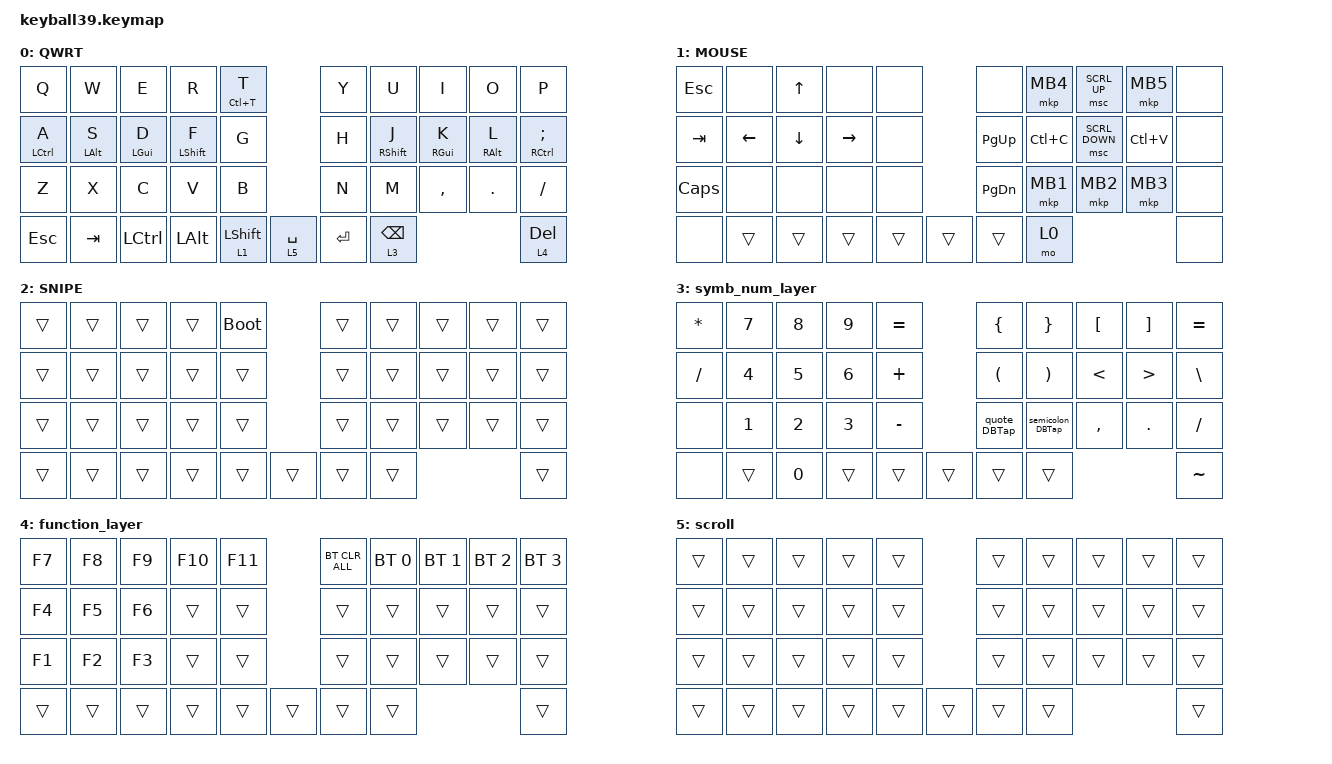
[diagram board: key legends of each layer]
#define DEFAULT 0
#define NUM     1
#define SYM     2
#define FUN     3
#define MOUSE   4
#define SCROLL  5
#define SNIPE   6

#include <behaviors/mouse_keys.dtsi>
#include <dt-bindings/zmk/mouse.h>
#include <behaviors.dtsi>
#include <dt-bindings/zmk/bt.h>
#include <dt-bindings/zmk/keys.h>
#include <dt-bindings/zmk/pointing.h>

&lt {
    tapping-term-ms = <240>;
    flavor = "balanced";
    quick-tap-ms = <150>;
};

&mt {
    tapping-term-ms = <200>;
    flavor = "tap-preferred";
    quick-tap-ms = <150>;
};

&caps_word { continue-list = <UNDERSCORE MINUS>; };

&msc {
};

/ {
    // custom shift using mod-morph 

    behaviors {
        cmqus: comma_question {
            compatible = "zmk,behavior-mod-morph";
            label = "COMMA_QUESTION";
            #binding-cells = <0>;
            bindings = <&kp COMMA>, <&kp QUESTION>;

            mods = <(MOD_LSFT|MOD_RSFT)>;
        };

        dtsmi: dot_semi {
            compatible = "zmk,behavior-mod-morph";
            label = "DOT_SEMI";
            #binding-cells = <0>;
            bindings = <&kp DOT>, <&kp SEMI>;

            mods = <(MOD_LSFT|MOD_RSFT)>;
        };

        HMShiftR: HMShiftR {
            compatible = "zmk,behavior-hold-tap";
            label = "HMSHIFTR";
            bindings = <&kp>, <&kp>;

            #binding-cells = <2>;
            tapping-term-ms = <300>;
            hold-while-undecided;
            hold-trigger-key-positions = <0 1 3 4 10 11 12 13 14 20 21 22 23 24 30 31 32 33 34 35 2>;
            hold-trigger-on-release;
        };

        HMShiftL: HMShiftL {
            compatible = "zmk,behavior-hold-tap";
            label = "HMSHIFTL";
            bindings = <&kp>, <&kp>;

            #binding-cells = <2>;
            tapping-term-ms = <300>;
            hold-while-undecided;
            hold-trigger-on-release;
            hold-trigger-key-positions = <5 6 7 8 9 15 16 17 18 19 25 26 27 28 29 36 37 38>;
        };

        HMR: HMR {
            compatible = "zmk,behavior-hold-tap";
            label = "HMR";
            bindings = <&kp>, <&kp>;

            #binding-cells = <2>;
            tapping-term-ms = <300>;
            hold-trigger-key-positions = <0 1 3 4 10 11 12 13 14 20 21 22 23 24 30 31 32 33 34 35 2>;
            hold-trigger-on-release;
            flavor = "tap-preferred";
        };

        HML: HML {
            compatible = "zmk,behavior-hold-tap";
            label = "HML";
            bindings = <&kp>, <&kp>;

            #binding-cells = <2>;
            tapping-term-ms = <300>;
            hold-trigger-on-release;
            hold-trigger-key-positions = <5 6 7 8 9 15 16 17 18 19 25 26 27 28 29 36 37 38>;
            flavor = "tap-preferred";
        };

        underscore_DBTap: underscore_DBTap {
            compatible = "zmk,behavior-tap-dance";
            label = "UNDERSCORE_DBTAP";
            #binding-cells = <0>;
            bindings = <&kp MINUS>, <&kp UNDERSCORE>;
        };

        quote_DBTap: quote_DBTap {
            compatible = "zmk,behavior-tap-dance";
            label = "QUOTE_DBTAP";
            #binding-cells = <0>;
            bindings = <&kp SQT>, <&kp DOUBLE_QUOTES>;
        };

        semicolon_DBTap: semicolon_DBTap {
            compatible = "zmk,behavior-tap-dance";
            label = "SEMICOLON_DBTAP";
            #binding-cells = <0>;
            bindings = <&kp SEMICOLON>, <&kp COLON>;
        };

        longPress: longPress {
            compatible = "zmk,behavior-hold-tap";
            label = "LONGPRESS";
            bindings = <&kp>, <&kp>;

            #binding-cells = <2>;
            tapping-term-ms = <350>;
            flavor = "tap-preferred";
        };
    };

    macros {
        Hiragana: Hiragana {
            compatible = "zmk,behavior-macro";
            #binding-cells = <0>;
            bindings = <&kp LC(SPACE)>;
            label = "HIRAGANA";
        };
    };

    keymap {
        compatible = "zmk,keymap";

        default_layer {
            label = "QWRT";
            bindings = <
&kp Q         &kp W            &kp E            &kp R                   &longPress LC(T) T                          &kp Y            &kp U                    &kp I             &kp O             &kp P
&HML LCTRL A  &HML LEFT_ALT S  &HML LEFT_GUI D  &HMShiftL LEFT_SHIFT F  &kp G                                       &kp H            &HMShiftR RIGHT_SHIFT J  &HMR RIGHT_GUI K  &HMR RIGHT_ALT L  &HMR RCTRL SEMICOLON
&kp Z         &kp X            &kp C            &kp V                   &kp B                                       &kp N            &kp M                    &kp COMMA         &kp DOT           &kp SLASH
&kp ESC       &kp TAB          &kp LCTRL        &kp LEFT_ALT            &lt 1 LSHIFT        &lt 5 SPACE  &kp ENTER  &lt 3 BACKSPACE                                                               &lt 4 DELETE
            >;
        };

        mouse_layer {
            label = "MOUSE";
            bindings = <
&kp ESCAPE    &none           &kp UP_ARROW  &none      &none                   &none          &mkp MB4   &msc SCRL_UP    &mkp MB5   &none
&kp TAB       &kp LEFT_ARROW  &kp DOWN      &kp RIGHT  &none                   &kp PAGE_UP    &kp LC(C)  &msc SCRL_DOWN  &kp LC(V)  &none
&kp CAPSLOCK  &none           &none         &none      &none                   &kp PAGE_DOWN  &mkp MB1   &mkp MB2        &mkp MB3   &none
&none         &trans          &trans        &trans     &trans  &trans  &trans  &mo 0                                                &none
            >;
        };

        snipe_layer {
            label = "SNIPE";
            bindings = <
&trans  &trans  &trans  &trans  &bootloader                  &trans  &trans  &trans  &trans  &trans
&trans  &trans  &trans  &trans  &trans                       &trans  &trans  &trans  &trans  &trans
&trans  &trans  &trans  &trans  &trans                       &trans  &trans  &trans  &trans  &trans
&trans  &trans  &trans  &trans  &trans       &trans  &trans  &trans                          &trans
            >;
        };

        symb_num_layer {
            bindings = <
&kp ASTERISK  &kp N7        &kp N8        &kp N9        &kp EQUAL                  &kp LEFT_BRACE        &kp RIGHT_BRACE        &kp LEFT_BRACKET  &kp RIGHT_BRACKET  &kp EQUAL
&kp SLASH     &kp NUMBER_4  &kp N5        &kp NUMBER_6  &kp PLUS                   &kp LEFT_PARENTHESIS  &kp RIGHT_PARENTHESIS  &kp LESS_THAN     &kp GREATER_THAN   &kp BACKSLASH
&none         &kp NUMBER_1  &kp NUMBER_2  &kp NUMBER_3  &kp MINUS                  &quote_DBTap          &semicolon_DBTap       &kp COMMA         &kp PERIOD         &kp SLASH
&none         &trans        &kp N0        &trans        &trans     &trans  &trans  &trans                                                                            &kp TILDE
            >;
        };

        function_layer {
            bindings = <
&kp F7  &kp F8  &kp F9  &kp F10  &kp F11                  &bt BT_CLR_ALL  &bt BT_SEL 0  &bt BT_SEL 1  &bt BT_SEL 2  &bt BT_SEL 3
&kp F4  &kp F5  &kp F6  &trans   &trans                   &trans          &trans        &trans        &trans        &trans
&kp F1  &kp F2  &kp F3  &trans   &trans                   &trans          &trans        &trans        &trans        &trans
&trans  &trans  &trans  &trans   &trans   &trans  &trans  &trans                                                    &trans
            >;
        };

        scroll {
            bindings = <
&trans  &trans  &trans  &trans  &trans                  &trans  &trans  &trans  &trans  &trans
&trans  &trans  &trans  &trans  &trans                  &trans  &trans  &trans  &trans  &trans
&trans  &trans  &trans  &trans  &trans                  &trans  &trans  &trans  &trans  &trans
&trans  &trans  &trans  &trans  &trans  &trans  &trans  &trans                          &trans
            >;
        };
    };
};
